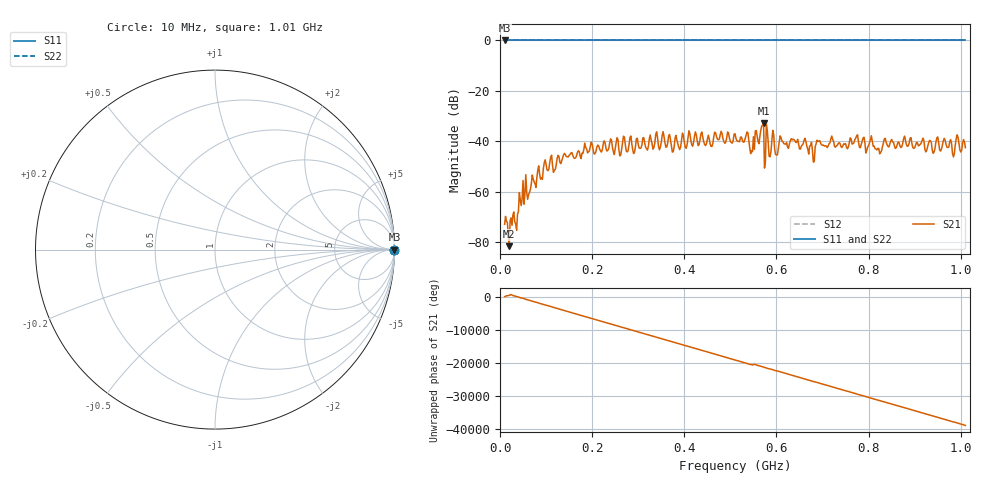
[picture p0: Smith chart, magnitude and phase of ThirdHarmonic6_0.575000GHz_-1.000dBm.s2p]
! 8/15/2025 6:31:34 PM
! C:\ANRITSUVNA\TEMP\TEMP.S2P
! CHANNEL.1
! TR.MEASUREMENT
! RAW.DATA
! RF.CORRECTION.OFF
! AVERAGING.OFF
! IF.BANDWIDTH: 5KHZ
! SWEEPTYPE:  FREQ.SWEEP(Linear)
! Reference Plane Port Info
! PORT:  PORT1  PORT2
! DISTANCE:  0  m  0  m
! TIME:  0  s  0  s
! PHASE.OFFSET:  0  deg.  0  deg.
! LOSS:  0  dB  0  dB
! REF.LOSS:  0  dB  0  dB
! REF.FREQ:  0  Hz  0  Hz
! Power Info
! POWER:  -20  dBm  -20  dBm
! EFF.POWER:  -20  dBm  -20  dBm
! SOURCE.ATTEN:  0  dB  0  dB
! TEST.ATTEN:  0  dB  0  dB
# GHZ S RI R 50.0
! FREQ.GHZ  S11RE  S11IM  S21RE  S21IM  S12RE  S12IM  S22RE  S22IM
!; PortSelection: Port_12
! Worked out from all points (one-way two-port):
!   501 points, 10 MHz to 1.01 GHz, reference 50 ohm
!   highest |S21| = -32.76 dB at 572 MHz (marker M1); lowest = -81.7 dB at 20 MHz (marker M2)
!   lowest |S11| = 0.0 dB at 10 MHz (marker M3)
!   |S11| at or under -10 dB: nowhere
!   |S22| runs from 0.0 to 0.0 dB; largest |S21 - S12| = 1
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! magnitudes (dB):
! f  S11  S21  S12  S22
! 10 MHz  0.0  -73.0  0.0  0.0
! 20 MHz  0.0  -81.7  0.0  0.0
! 36 MHz  0.0  -75.4  0.0  0.0
! 52 MHz  0.0  -65.0  0.0  0.0
! 62 MHz  0.0  -61.2  0.0  0.0
! 98 MHz  0.0  -47.4  0.0  0.0
! 178 MHz  0.0  -44.8  0.0  0.0
! 344 MHz  0.0  -42.0  0.0  0.0
! 510 MHz  0.0  -37.1  0.0  0.0
! 536 MHz  0.0  -36.3  0.0  0.0
! 548 MHz  0.0  -44.2  0.0  0.0
! 568 MHz  0.0  -34.0  0.0  0.0
! 572 MHz  0.0  -32.8  0.0  0.0
! 586 MHz  0.0  -46.2  0.0  0.0
! 594 MHz  0.0  -37.5  0.0  0.0
! 600 MHz  0.0  -45.4  0.0  0.0
! 610 MHz  0.0  -38.6  0.0  0.0
! 678 MHz  0.0  -43.5  0.0  0.0
! 690 MHz  0.0  -40.1  0.0  0.0
! 720 MHz  0.0  -37.9  0.0  0.0
! 844 MHz  0.0  -42.3  0.0  0.0
! 1.01 GHz  0.0  -42.6  0.0  0.0
